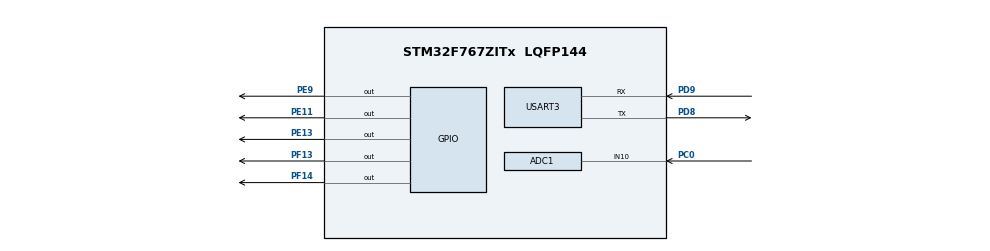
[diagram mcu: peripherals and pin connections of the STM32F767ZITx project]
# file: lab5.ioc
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ADC1.Channel-0\#ChannelRegularConversion=ADC_CHANNEL_10
ADC1.ContinuousConvMode=ENABLE
ADC1.EOCSelection=ADC_EOC_SEQ_CONV
ADC1.NbrOfConversionFlag=1
ADC1.Rank-0\#ChannelRegularConversion=1
ADC1.SamplingTime-0\#ChannelRegularConversion=ADC_SAMPLETIME_3CYCLES
ADC1.master=1
Mcu.Family=STM32F7
Mcu.Name=STM32F767ZITx
Mcu.Package=LQFP144
NVIC.PriorityGroup=NVIC_PRIORITYGROUP_4
PC0.Signal=ADCx_IN10
PD8.Mode=Asynchronous
PD8.Signal=USART3_TX
PD9.Mode=Asynchronous
PD9.Signal=USART3_RX
PE11.Signal=GPIO_Output
PE13.Signal=GPIO_Output
PE9.Signal=GPIO_Output
PF13.Signal=GPIO_Output
PF14.Signal=GPIO_Output
ProjectManager.HeapSize=0x200
ProjectManager.StackSize=0x400
ProjectManager.TargetToolchain=STM32CubeIDE
RCC.HSE_VALUE=25000000
RCC.HSI_VALUE=16000000
RCC.LSE_VALUE=32768
RCC.USBFreq_Value=96000000
RCC.VCOOutputFreq_Value=192000000
SH.ADCx_IN10.0=ADC1_IN10,IN10
USART3.VirtualMode-Asynchronous=VM_ASYNC
board=custom

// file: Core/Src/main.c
/* USER CODE BEGIN Header */
/**
  ******************************************************************************
  * @file           : main.c
  * @brief          : Main program body
  ******************************************************************************
  * @attention
  *
  * Copyright (c) 2023 STMicroelectronics.
  * All rights reserved.
  *
  * This software is licensed under terms that can be found in the LICENSE file
  * in the root directory of this software component.
  * If no LICENSE file comes with this software, it is provided AS-IS.
  *
  ******************************************************************************
  */
/* USER CODE END Header */
#include "main.h"

ADC_HandleTypeDef hadc1;

UART_HandleTypeDef huart3;

void SystemClock_Config(void);
static void MPU_Initialize(void);
static void MPU_Config(void);
static void MX_GPIO_Init(void);
static void MX_ADC1_Init(void);
static void MX_USART3_UART_Init(void);

/* USER CODE BEGIN 0 */
volatile uint32_t adc_val = 0;
volatile uint32_t adc_avg_8;
volatile uint32_t adc_avg_16;

/* USER CODE END 0 */

int main(void)
{

  /* MCU Configuration--------------------------------------------------------*/

  /* Reset of all peripherals, Initializes the Flash interface and the Systick. */
  HAL_Init();

  /* MPU Configuration--------------------------------------------------------*/
  MPU_Config();

  /* Configure the system clock */
  SystemClock_Config();

  /* Initialize all configured peripherals */
  MX_GPIO_Init();
  MX_ADC1_Init();
  MX_USART3_UART_Init();

  /* Infinite loop */
  /* USER CODE BEGIN WHILE */
  HAL_ADC_Start(&hadc1);
  while (1)
  {
    /* USER CODE END WHILE */

    /* USER CODE BEGIN 3 */
	  while( HAL_ADC_PollForConversion(&hadc1,100) != HAL_OK){}
	  adc_val = HAL_ADC_GetValue(&hadc1);
	  adc_avg_8 = average_8(adc_val);
	  adc_avg_16 = average_16(adc_val);
	  displayHEX(adc_val);

	  HAL_Delay(400);
	  if(adc_val > (4095/5)*4){
	  		  HAL_GPIO_WritePin(GPIOF, GPIO_PIN_13, GPIO_PIN_RESET);
	  		  HAL_GPIO_WritePin(GPIOE, GPIO_PIN_9, GPIO_PIN_RESET);
	  		  HAL_GPIO_WritePin(GPIOE, GPIO_PIN_11, GPIO_PIN_RESET);
	  		  HAL_GPIO_WritePin(GPIOF, GPIO_PIN_14, GPIO_PIN_RESET);
	  	  }
	  	  else if(adc_val > (4095/5)*3){
	  		HAL_GPIO_WritePin(GPIOF, GPIO_PIN_13, GPIO_PIN_SET);
	  			  		  HAL_GPIO_WritePin(GPIOE, GPIO_PIN_9, GPIO_PIN_RESET);
	  			  		  HAL_GPIO_WritePin(GPIOE, GPIO_PIN_11, GPIO_PIN_RESET);
	  			  		  HAL_GPIO_WritePin(GPIOF, GPIO_PIN_14, GPIO_PIN_RESET);
	  	  }
	  	  else if(adc_val > (4095/5)*2){
	  		HAL_GPIO_WritePin(GPIOF, GPIO_PIN_13, GPIO_PIN_SET);
	  			  		  HAL_GPIO_WritePin(GPIOE, GPIO_PIN_9, GPIO_PIN_SET);
	  			  		  HAL_GPIO_WritePin(GPIOE, GPIO_PIN_11, GPIO_PIN_RESET);
	  			  		  HAL_GPIO_WritePin(GPIOF, GPIO_PIN_14, GPIO_PIN_RESET);
	  	  }
	  	  else if(adc_val > (4095/5)*1){
	  		HAL_GPIO_WritePin(GPIOF, GPIO_PIN_13, GPIO_PIN_SET);
	  			  		  HAL_GPIO_WritePin(GPIOE, GPIO_PIN_9, GPIO_PIN_SET);
	  			  		  HAL_GPIO_WritePin(GPIOE, GPIO_PIN_11, GPIO_PIN_SET);
	  			  		  HAL_GPIO_WritePin(GPIOF, GPIO_PIN_14, GPIO_PIN_RESET);
	  	 }
	  	 else if(adc_val > (4095/5)*0){
	  		HAL_GPIO_WritePin(GPIOF, GPIO_PIN_13, GPIO_PIN_SET);
	  			  		  HAL_GPIO_WritePin(GPIOE, GPIO_PIN_9, GPIO_PIN_SET);
	  			  		  HAL_GPIO_WritePin(GPIOE, GPIO_PIN_11, GPIO_PIN_SET);
	  			  		  HAL_GPIO_WritePin(GPIOF, GPIO_PIN_14, GPIO_PIN_SET);
	  	 }
  }
  /* USER CODE END 3 */
}

void SystemClock_Config(void)
{
  RCC_OscInitTypeDef RCC_OscInitStruct = {0};
  RCC_ClkInitTypeDef RCC_ClkInitStruct = {0};

  /** Configure the main internal regulator output voltage
  */
  __HAL_RCC_PWR_CLK_ENABLE();
  __HAL_PWR_VOLTAGESCALING_CONFIG(PWR_REGULATOR_VOLTAGE_SCALE3);

  /** Initializes the RCC Oscillators according to the specified parameters
  * in the RCC_OscInitTypeDef structure.
  */
  RCC_OscInitStruct.OscillatorType = RCC_OSCILLATORTYPE_HSI;
  RCC_OscInitStruct.HSIState = RCC_HSI_ON;
  RCC_OscInitStruct.HSICalibrationValue = RCC_HSICALIBRATION_DEFAULT;
  RCC_OscInitStruct.PLL.PLLState = RCC_PLL_NONE;
  if (HAL_RCC_OscConfig(&RCC_OscInitStruct) != HAL_OK)
  {
    Error_Handler();
  }

  /** Initializes the CPU, AHB and APB buses clocks
  */
  RCC_ClkInitStruct.ClockType = RCC_CLOCKTYPE_HCLK|RCC_CLOCKTYPE_SYSCLK
                              |RCC_CLOCKTYPE_PCLK1|RCC_CLOCKTYPE_PCLK2;
  RCC_ClkInitStruct.SYSCLKSource = RCC_SYSCLKSOURCE_HSI;
  RCC_ClkInitStruct.AHBCLKDivider = RCC_SYSCLK_DIV1;
  RCC_ClkInitStruct.APB1CLKDivider = RCC_HCLK_DIV1;
  RCC_ClkInitStruct.APB2CLKDivider = RCC_HCLK_DIV1;

  if (HAL_RCC_ClockConfig(&RCC_ClkInitStruct, FLASH_LATENCY_0) != HAL_OK)
  {
    Error_Handler();
  }
}

static void MX_ADC1_Init(void)
{

  ADC_ChannelConfTypeDef sConfig = {0};

  /** Configure the global features of the ADC (Clock, Resolution, Data Alignment and number of conversion)
  */
  hadc1.Instance = ADC1;
  hadc1.Init.ClockPrescaler = ADC_CLOCK_SYNC_PCLK_DIV2;
  hadc1.Init.Resolution = ADC_RESOLUTION_12B;
  hadc1.Init.ScanConvMode = ADC_SCAN_DISABLE;
  hadc1.Init.ContinuousConvMode = ENABLE;
  hadc1.Init.DiscontinuousConvMode = DISABLE;
  hadc1.Init.ExternalTrigConvEdge = ADC_EXTERNALTRIGCONVEDGE_NONE;
  hadc1.Init.ExternalTrigConv = ADC_SOFTWARE_START;
  hadc1.Init.DataAlign = ADC_DATAALIGN_RIGHT;
  hadc1.Init.NbrOfConversion = 1;
  hadc1.Init.DMAContinuousRequests = DISABLE;
  hadc1.Init.EOCSelection = ADC_EOC_SEQ_CONV;
  if (HAL_ADC_Init(&hadc1) != HAL_OK)
  {
    Error_Handler();
  }

  /** Configure for the selected ADC regular channel its corresponding rank in the sequencer and its sample time.
  */
  sConfig.Channel = ADC_CHANNEL_10;
  sConfig.Rank = ADC_REGULAR_RANK_1;
  sConfig.SamplingTime = ADC_SAMPLETIME_3CYCLES;
  if (HAL_ADC_ConfigChannel(&hadc1, &sConfig) != HAL_OK)
  {
    Error_Handler();
  }

}

static void MX_USART3_UART_Init(void)
{

  huart3.Instance = USART3;
  huart3.Init.BaudRate = 115200;
  huart3.Init.WordLength = UART_WORDLENGTH_8B;
  huart3.Init.StopBits = UART_STOPBITS_1;
  huart3.Init.Parity = UART_PARITY_NONE;
  huart3.Init.Mode = UART_MODE_TX_RX;
  huart3.Init.HwFlowCtl = UART_HWCONTROL_NONE;
  huart3.Init.OverSampling = UART_OVERSAMPLING_16;
  huart3.Init.OneBitSampling = UART_ONE_BIT_SAMPLE_DISABLE;
  huart3.AdvancedInit.AdvFeatureInit = UART_ADVFEATURE_NO_INIT;
  if (HAL_UART_Init(&huart3) != HAL_OK)
  {
    Error_Handler();
  }

}

static void MX_GPIO_Init(void)
{
  GPIO_InitTypeDef GPIO_InitStruct = {0};

  /* GPIO Ports Clock Enable */
  __HAL_RCC_GPIOC_CLK_ENABLE();
  __HAL_RCC_GPIOF_CLK_ENABLE();
  __HAL_RCC_GPIOE_CLK_ENABLE();
  __HAL_RCC_GPIOD_CLK_ENABLE();

  /*Configure GPIO pin Output Level */
  HAL_GPIO_WritePin(GPIOF, GPIO_PIN_13|GPIO_PIN_14, GPIO_PIN_RESET);

  /*Configure GPIO pin Output Level */
  HAL_GPIO_WritePin(GPIOE, GPIO_PIN_9|GPIO_PIN_11|GPIO_PIN_13, GPIO_PIN_RESET);

  /*Configure GPIO pins : PF13 PF14 */
  GPIO_InitStruct.Pin = GPIO_PIN_13|GPIO_PIN_14;
  GPIO_InitStruct.Mode = GPIO_MODE_OUTPUT_PP;
  GPIO_InitStruct.Pull = GPIO_NOPULL;
  GPIO_InitStruct.Speed = GPIO_SPEED_FREQ_LOW;
  HAL_GPIO_Init(GPIOF, &GPIO_InitStruct);

  /*Configure GPIO pins : PE9 PE11 PE13 */
  GPIO_InitStruct.Pin = GPIO_PIN_9|GPIO_PIN_11|GPIO_PIN_13;
  GPIO_InitStruct.Mode = GPIO_MODE_OUTPUT_PP;
  GPIO_InitStruct.Pull = GPIO_NOPULL;
  GPIO_InitStruct.Speed = GPIO_SPEED_FREQ_LOW;
  HAL_GPIO_Init(GPIOE, &GPIO_InitStruct);

}

/* USER CODE BEGIN 4 */
void displayHEX (uint32_t num){
	char str[80];
	sprintf(str, "ADC1_CH10 %#010X VIN = %.2f\n\r", num,(num*3.3/4095.0));
	HAL_UART_Transmit(&huart3, (uint8_t*) str, strlen(str), 100);
	HAL_Delay(400);
}

int average_8(int x) {
	static int samples[8];
	static int i = 0;
	static int total = 0;
	total +=  x - samples[i];
	samples[i]=x;
	i=(i==7?0:i+1);
	return total>>3;
}

int average_16(int x){
	static int samples[16];
	static int i = 0;
	static int total = 0;

	total += x - samples[i];
	samples[i] = x;

	i = (i == 15 ? 0 : i+1);

	return total >> 4;
}

/* USER CODE END 4 */

/* MPU Configuration */

void MPU_Config(void)
{
  MPU_Region_InitTypeDef MPU_InitStruct = {0};

  /* Disables the MPU */
  HAL_MPU_Disable();

  /** Initializes and configures the Region and the memory to be protected
  */
  MPU_InitStruct.Enable = MPU_REGION_ENABLE;
  MPU_InitStruct.Number = MPU_REGION_NUMBER0;
  MPU_InitStruct.BaseAddress = 0x0;
  MPU_InitStruct.Size = MPU_REGION_SIZE_4GB;
  MPU_InitStruct.SubRegionDisable = 0x87;
  MPU_InitStruct.TypeExtField = MPU_TEX_LEVEL0;
  MPU_InitStruct.AccessPermission = MPU_REGION_NO_ACCESS;
  MPU_InitStruct.DisableExec = MPU_INSTRUCTION_ACCESS_DISABLE;
  MPU_InitStruct.IsShareable = MPU_ACCESS_SHAREABLE;
  MPU_InitStruct.IsCacheable = MPU_ACCESS_NOT_CACHEABLE;
  MPU_InitStruct.IsBufferable = MPU_ACCESS_NOT_BUFFERABLE;

  HAL_MPU_ConfigRegion(&MPU_InitStruct);
  /* Enables the MPU */
  HAL_MPU_Enable(MPU_PRIVILEGED_DEFAULT);

}

void Error_Handler(void)
{
  __disable_irq();
  while (1)
  {
  }
}
